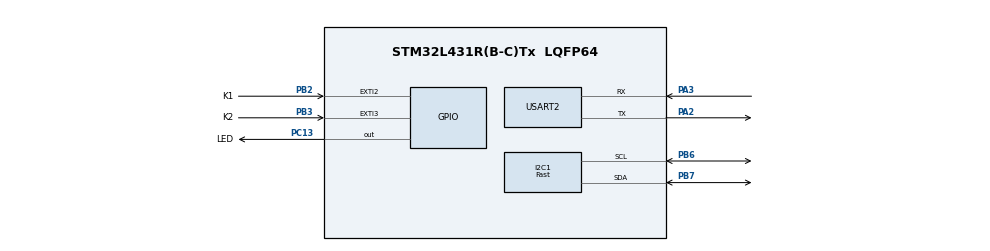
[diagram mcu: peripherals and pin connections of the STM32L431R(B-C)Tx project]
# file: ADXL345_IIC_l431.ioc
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Dma.I2C1_RX.0.Direction=DMA_PERIPH_TO_MEMORY
Dma.I2C1_RX.0.Instance=DMA1_Channel7
Dma.I2C1_RX.0.MemDataAlignment=DMA_MDATAALIGN_BYTE
Dma.I2C1_RX.0.MemInc=DMA_MINC_ENABLE
Dma.I2C1_RX.0.Mode=DMA_CIRCULAR
Dma.I2C1_RX.0.PeriphDataAlignment=DMA_PDATAALIGN_BYTE
Dma.I2C1_RX.0.PeriphInc=DMA_PINC_DISABLE
Dma.I2C1_RX.0.Priority=DMA_PRIORITY_LOW
Dma.I2C1_TX.1.Direction=DMA_MEMORY_TO_PERIPH
Dma.I2C1_TX.1.Instance=DMA1_Channel6
Dma.I2C1_TX.1.MemDataAlignment=DMA_MDATAALIGN_BYTE
Dma.I2C1_TX.1.MemInc=DMA_MINC_ENABLE
Dma.I2C1_TX.1.Mode=DMA_NORMAL
Dma.I2C1_TX.1.PeriphDataAlignment=DMA_PDATAALIGN_BYTE
Dma.I2C1_TX.1.PeriphInc=DMA_PINC_DISABLE
Dma.I2C1_TX.1.Priority=DMA_PRIORITY_LOW
Dma.Request0=I2C1_RX
Dma.Request1=I2C1_TX
I2C1.I2C_Speed_Mode=I2C_Fast
I2C1.OwnAddress=0x0
I2C1.Timing=0x00702991
Mcu.Family=STM32L4
Mcu.Name=STM32L431R(B-C)Tx
Mcu.Package=LQFP64
NVIC.DMA1_Channel6_IRQn=true\:0\:0\:false\:false\:true\:false\:true
NVIC.DMA1_Channel7_IRQn=true\:0\:0\:false\:false\:true\:false\:true
NVIC.EXTI2_IRQn=true\:0\:0\:false\:false\:true\:true\:true
NVIC.EXTI3_IRQn=true\:0\:0\:false\:false\:true\:true\:true
NVIC.PriorityGroup=NVIC_PRIORITYGROUP_4
PA13\ (JTMS-SWDIO).Mode=Serial_Wire
PA13\ (JTMS-SWDIO).Signal=SYS_JTMS-SWDIO
PA14\ (JTCK-SWCLK).Mode=Serial_Wire
PA14\ (JTCK-SWCLK).Signal=SYS_JTCK-SWCLK
PA2.Mode=Asynchronous
PA2.Signal=USART2_TX
PA3.Mode=Asynchronous
PA3.Signal=USART2_RX
PB2.GPIO_Label=K1
PB2.GPIO_ModeDefaultEXTI=GPIO_MODE_IT_FALLING
PB2.GPIO_PuPd=GPIO_PULLUP
PB2.Signal=GPXTI2
PB3\ (JTDO-TRACESWO).GPIO_Label=K2
PB3\ (JTDO-TRACESWO).GPIO_ModeDefaultEXTI=GPIO_MODE_IT_FALLING
PB3\ (JTDO-TRACESWO).GPIO_PuPd=GPIO_PULLUP
PB3\ (JTDO-TRACESWO).Signal=GPXTI3
PB6.Mode=I2C
PB6.Signal=I2C1_SCL
PB7.Mode=I2C
PB7.Signal=I2C1_SDA
PC13.GPIO_Label=LED
PC13.PinState=GPIO_PIN_SET
PC13.Signal=GPIO_Output
PH0-OSC_IN\ (PH0).Mode=HSE-External-Oscillator
PH0-OSC_IN\ (PH0).Signal=RCC_OSC_IN
PH1-OSC_OUT\ (PH1).Mode=HSE-External-Oscillator
PH1-OSC_OUT\ (PH1).Signal=RCC_OSC_OUT
ProjectManager.HeapSize=0x200
ProjectManager.StackSize=0x400
ProjectManager.TargetToolchain=EWARM V8
RCC.AHBFreq_Value=80000000
RCC.APB1Freq_Value=80000000
RCC.APB1TimFreq_Value=80000000
RCC.APB2Freq_Value=80000000
RCC.APB2TimFreq_Value=80000000
RCC.CortexFreq_Value=80000000
RCC.HCLKFreq_Value=80000000
RCC.HSE_VALUE=8000000
RCC.HSI48_VALUE=48000000
RCC.HSI_VALUE=16000000
RCC.LSE_VALUE=32768
RCC.MSI_VALUE=4000000
RCC.PLLN=40
RCC.SYSCLKFreq_VALUE=80000000
RCC.SYSCLKSource=RCC_SYSCLKSOURCE_PLLCLK
RCC.VCOOutputFreq_Value=160000000
USART2.VirtualMode-Asynchronous=VM_ASYNC
board=custom

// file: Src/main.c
/* USER CODE BEGIN Header */
/**
  ******************************************************************************
  * @file           : main.c
  * @brief          : Main program body
  ******************************************************************************
  * @attention
  *
  * <h2><center>&copy; Copyright (c) 2019 STMicroelectronics.
  * All rights reserved.</center></h2>
  *
  * This software component is licensed by ST under BSD 3-Clause license,
  * the "License"; You may not use this file except in compliance with the
  * License. You may obtain a copy of the License at:
  *                        opensource.org/licenses/BSD-3-Clause
  *
  ******************************************************************************
  */
/* USER CODE END Header */

#include "main.h"
#include "dma.h"
#include "i2c.h"
#include "usart.h"
#include "gpio.h"

/* USER CODE BEGIN Includes */
#include "ADXL.h"

/* USER CODE END Includes */

void SystemClock_Config( void );

int main( void )
{
    /* MCU Configuration--------------------------------------------------------*/
    /* Reset of all peripherals, Initializes the Flash interface and the Systick. */
    HAL_Init();
    /* Configure the system clock */
    SystemClock_Config();
    /* Initialize all configured peripherals */
    MX_GPIO_Init();
    MX_DMA_Init();
    MX_I2C1_Init();
    MX_USART2_UART_Init();
    /* USER CODE BEGIN 2 */
    ADXL_InitTypeDef AppAdxl;
    //
    AppAdxl.LPMode = LPMODE_NORMAL;
    AppAdxl.IntMode = INT_ACTIVEHIGH;           //INT_ACTIVELOW;
    AppAdxl.Justify = JUSTIFY_SIGNED;           //JUSTIFY_MSB;
    AppAdxl.Range = RANGE_4G;
    AppAdxl.LinkMode = LINKMODEON;
    AppAdxl.Rate = BWRATE_1600;                 //BWRATE_3200;
    AppAdxl.Resolution = RESOLUTION_10BIT;
    AppAdxl.AutoSleep = AUTOSLEEPOFF;
    //
    Dev_ADXL_Init( &AppAdxl );
    ADXL_Measure( ON );
    //
    uint16_t acc[3];
    ADXL_getAccel( &acc, OUTPUT_SIGNED );
    printf( "X=%d Y=%d Z=%d\r\n", acc[0], acc[1], acc[2] );
    float facc[3];
    /* USER CODE END 2 */
    /* Infinite loop */
    while( 1 )
    {
        /* USER CODE BEGIN 3 */
        //        uint16_t acc[3];
        //        ADXL_getAccel( &facc, OUTPUT_FLOAT );
        //        printf( "X=%0.4f Y=%0.4f Z=%0.4f \r\n", facc[0], facc[1], facc[2] );
//        ADXL_getAccel( &acc, OUTPUT_SIGNED );
//        printf( "X=%d Y=%d Z=%d\r\n", acc[0], acc[1], acc[2] );
        HAL_GPIO_TogglePin( LED_GPIO_Port, LED_Pin );
        HAL_Delay( 1000 );
    }
    /* USER CODE END 3 */
}

void SystemClock_Config( void )
{
    RCC_OscInitTypeDef RCC_OscInitStruct = {0};
    RCC_ClkInitTypeDef RCC_ClkInitStruct = {0};
    RCC_PeriphCLKInitTypeDef PeriphClkInit = {0};
    /** Initializes the CPU, AHB and APB busses clocks
    */
    RCC_OscInitStruct.OscillatorType = RCC_OSCILLATORTYPE_MSI;
    RCC_OscInitStruct.MSIState = RCC_MSI_ON;
    RCC_OscInitStruct.MSICalibrationValue = 0;
    RCC_OscInitStruct.MSIClockRange = RCC_MSIRANGE_6;
    RCC_OscInitStruct.PLL.PLLState = RCC_PLL_ON;
    RCC_OscInitStruct.PLL.PLLSource = RCC_PLLSOURCE_MSI;
    RCC_OscInitStruct.PLL.PLLM = 1;
    RCC_OscInitStruct.PLL.PLLN = 40;
    RCC_OscInitStruct.PLL.PLLP = RCC_PLLP_DIV7;
    RCC_OscInitStruct.PLL.PLLQ = RCC_PLLQ_DIV2;
    RCC_OscInitStruct.PLL.PLLR = RCC_PLLR_DIV2;
    if( HAL_RCC_OscConfig( &RCC_OscInitStruct ) != HAL_OK )
    {
        Error_Handler();
    }
    /** Initializes the CPU, AHB and APB busses clocks
    */
    RCC_ClkInitStruct.ClockType = RCC_CLOCKTYPE_HCLK | RCC_CLOCKTYPE_SYSCLK
                                  | RCC_CLOCKTYPE_PCLK1 | RCC_CLOCKTYPE_PCLK2;
    RCC_ClkInitStruct.SYSCLKSource = RCC_SYSCLKSOURCE_PLLCLK;
    RCC_ClkInitStruct.AHBCLKDivider = RCC_SYSCLK_DIV1;
    RCC_ClkInitStruct.APB1CLKDivider = RCC_HCLK_DIV1;
    RCC_ClkInitStruct.APB2CLKDivider = RCC_HCLK_DIV1;
    if( HAL_RCC_ClockConfig( &RCC_ClkInitStruct, FLASH_LATENCY_4 ) != HAL_OK )
    {
        Error_Handler();
    }
    PeriphClkInit.PeriphClockSelection = RCC_PERIPHCLK_USART2 | RCC_PERIPHCLK_I2C1;
    PeriphClkInit.Usart2ClockSelection = RCC_USART2CLKSOURCE_PCLK1;
    PeriphClkInit.I2c1ClockSelection = RCC_I2C1CLKSOURCE_PCLK1;
    if( HAL_RCCEx_PeriphCLKConfig( &PeriphClkInit ) != HAL_OK )
    {
        Error_Handler();
    }
    /** Configure the main internal regulator output voltage
    */
    if( HAL_PWREx_ControlVoltageScaling( PWR_REGULATOR_VOLTAGE_SCALE1 ) != HAL_OK )
    {
        Error_Handler();
    }
}

void Error_Handler( void )
{
}

/************************ (C) COPYRIGHT STMicroelectronics *****END OF FILE****/
